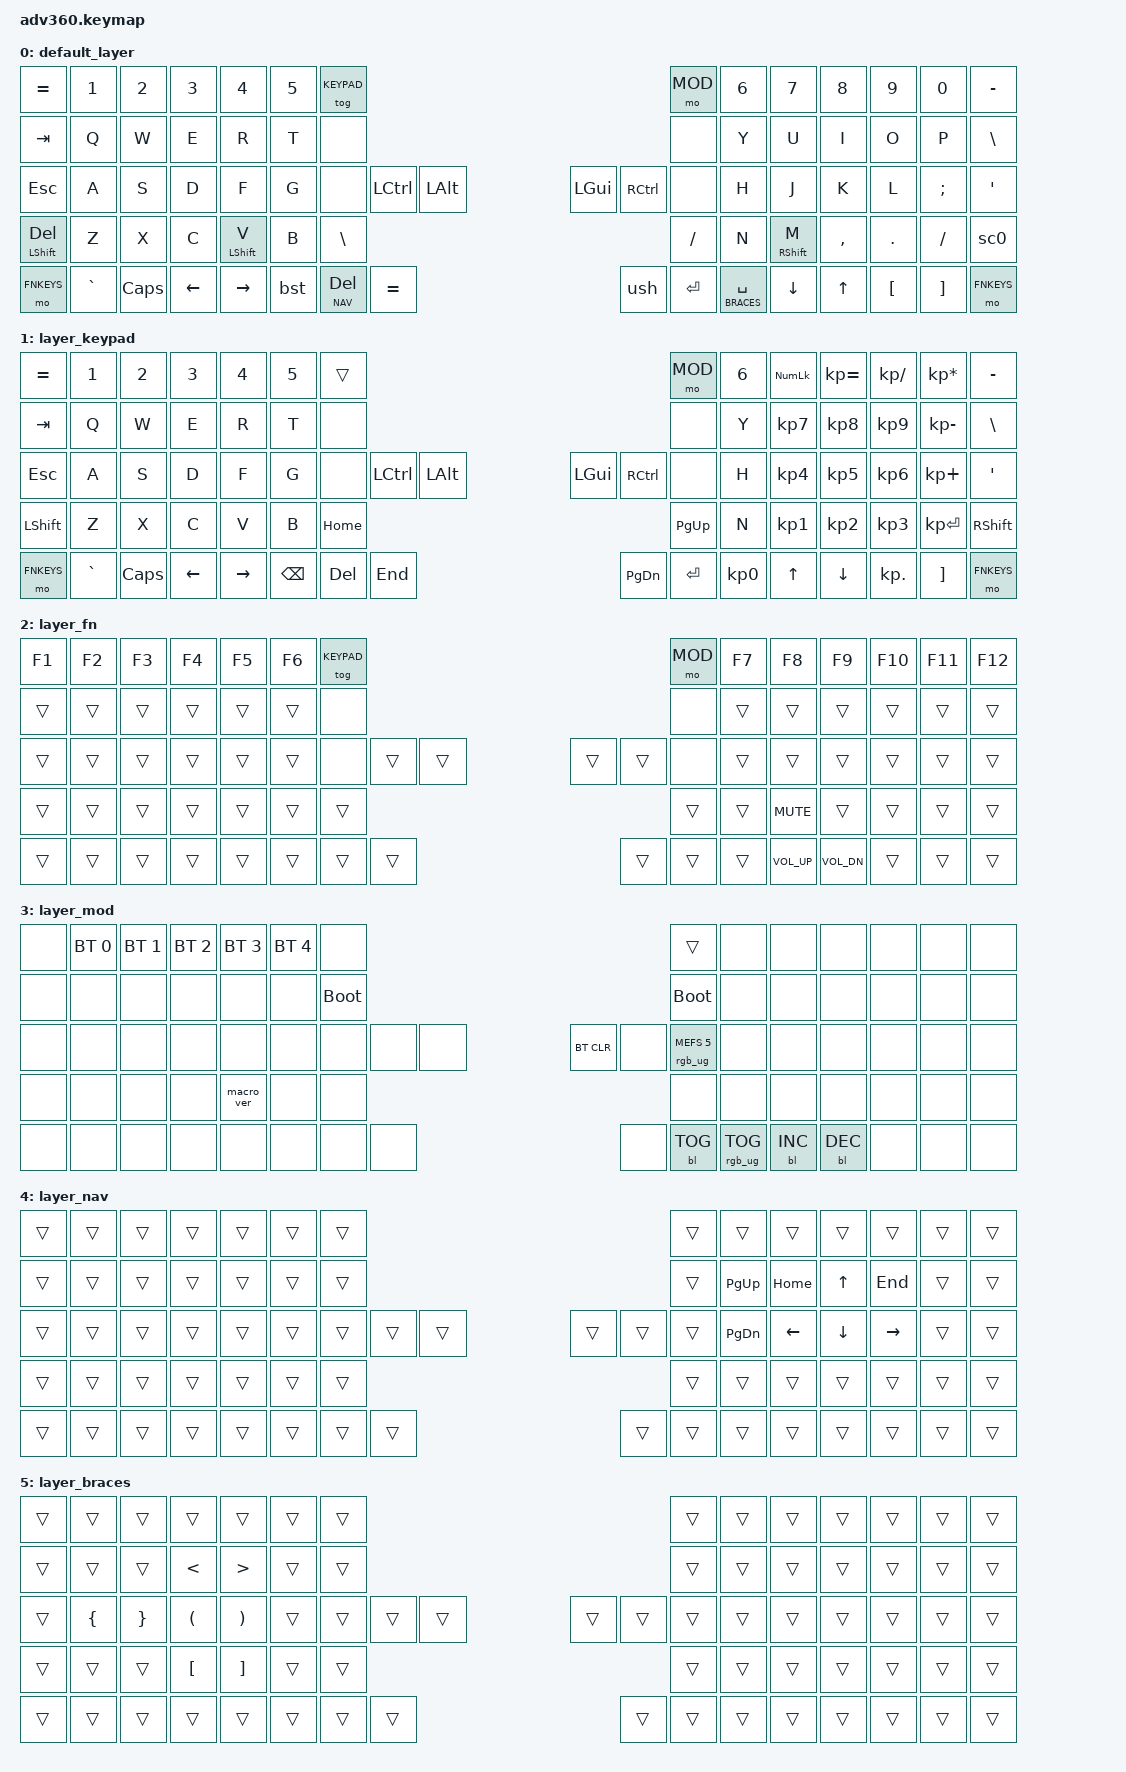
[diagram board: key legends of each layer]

/*
 * Copyright (c) 2020 The ZMK Contributors
 *
 * SPDX-License-Identifier: MIT
 */


/* THIS FILE WAS GENERATED!
 *
 * This file was generated automatically. You may or may not want to
 * edit it directly.
 */

#include <behaviors.dtsi>
#include <dt-bindings/zmk/keys.h>
#include <dt-bindings/zmk/bt.h>
#include <dt-bindings/zmk/rgb.h>
#include <dt-bindings/zmk/backlight.h>

#define BASE		0
#define KEYPAD		1
#define FNKEYS		2
#define MOD		3
#define NAV		4
#define BRACES		5

/ {
  behaviors {
    #include "macros.dtsi"
    #include "version.dtsi"

    hm: homerow_mods {
        compatible = "zmk,behavior-hold-tap";
        label = "HOMEROW_MODS";
        #binding-cells = <2>;
        tapping-term-ms = <200>;
        quick_tap_ms = <175>;
        flavor = "tap-preferred";
        bindings = <&kp>, <&kp>;
    };
    rpi: require_prior_idle {
        compatible = "zmk,behavior-hold-tap";
        label = "rpi";
        #binding-cells = <2>;
        flavor = "tap-preferred";
        tapping-term-ms = <200>;
        quick_tap_ms = <200>;
        require-prior-idle-ms = <125>;
        bindings = <&kp>, <&kp>;
    };
    uplb: up_left_brace {
        compatible = "zmk,behavior-mod-morph";
        label = "up_left_brace";
        #binding-cells = <0>;
        bindings = <&kp LEFT_BRACE>, <&kp UP>;
        mods = <(MOD_LSFT|MOD_RSFT)>;
     };
    dnlb: down_right_brace {
        compatible = "zmk,behavior-mod-morph";
        label = "down_right_brace";
        #binding-cells = <0>;
        bindings = <&kp RIGHT_BRACE>, <&kp DOWN>;
        mods = <(MOD_LSFT|MOD_RSFT)>;
    };
    llp: left_left_parens {
        compatible = "zmk,behavior-mod-morph";
        label = "left_left_parens";
        #binding-cells = <0>;
        bindings = <&kp LEFT_PARENTHESIS>, <&kp LEFT>;
        mods = <(MOD_LSFT|MOD_RSFT)>;
    };
    rrp: right_right_parens {
        compatible = "zmk,behavior-mod-morph";
        label = "right_right_parens";
        #binding-cells = <0>;
        bindings = <&kp RIGHT_PARENTHESIS>, <&kp RIGHT>;
        mods = <(MOD_LSFT|MOD_RSFT)>;
    };
    ush: underscore_hyphen {
        compatible = "zmk,behavior-mod-morph";
        label = "underscore_hyphen";
        #binding-cells = <0>;
        bindings = <&kp UNDERSCORE>, <&kp MINUS>;
        mods = <(MOD_LCTL|MOD_LSFT|MOD_RCTL|MOD_RSFT)>;
    };
    bst: backspace_tab {
        compatible = "zmk,behavior-mod-morph";
        label = "backspace_tab";
        #binding-cells = <0>;
        bindings = <&kp BSPC>, <&kp TAB>;
        mods = <(MOD_LCTL|MOD_LSFT|MOD_RCTL|MOD_RSFT)>;
    };
    sc0: shift_caps_0 {
        compatible = "zmk,behavior-tap-dance";
        label = "shift_caps_0";
        #binding-cells = <0>;
        tapping-term-ms = <200>;
        bindings = <&kp RSHIFT>, <&kp CAPS>;
    };
  };

    keymap {
        compatible = "zmk,keymap";


        default_layer {
            bindings = <
      &kp EQUAL     &kp N1    &kp N2    &kp N3         &kp N4  &kp N5  &tog KEYPAD                                                                         &mo MOD    &kp N6         &kp N7     &kp N8    &kp N9    &kp N0   &kp MINUS
        &kp TAB      &kp Q     &kp W     &kp E          &kp R   &kp T        &none                                                                           &none     &kp Y          &kp U      &kp I     &kp O     &kp P    &kp BSLH
        &kp ESC      &kp A     &kp S     &kp D          &kp F   &kp G        &none    &kp LCTRL   &kp LALT                   &kp LGUI  &kp RCTRL             &none     &kp H          &kp J      &kp K     &kp L  &kp SEMI     &kp SQT
 &mt LSHIFT DEL      &kp Z     &kp X     &kp C  &rpi LSHIFT V   &kp B                             &kp BSLH                   &kp FSLH                                  &kp N  &rpi RSHIFT M  &kp COMMA   &kp DOT  &kp FSLH        &sc0
     &mo FNKEYS  &kp GRAVE  &kp CAPS  &kp LEFT      &kp RIGHT                 &bst  &lt NAV DEL  &kp EQUAL                       &ush  &kp ENTER  &lt BRACES SPACE                 &kp DOWN     &kp UP  &kp LBKT  &kp RBKT  &mo FNKEYS
            >;
        };

        layer_keypad {
            bindings = <
  &kp EQUAL     &kp N1    &kp N2    &kp N3     &kp N4  &kp N5              &trans                                                                 &mo MOD  &kp N6  &kp KP_NUM  &kp KP_EQUAL  &kp KP_DIVIDE  &kp KP_MULTIPLY   &kp MINUS
    &kp TAB      &kp Q     &kp W     &kp E      &kp R   &kp T               &none                                                                   &none   &kp Y   &kp KP_N7     &kp KP_N8      &kp KP_N9     &kp KP_MINUS    &kp BSLH
    &kp ESC      &kp A     &kp S     &kp D      &kp F   &kp G               &none  &kp LCTRL  &kp LALT                   &kp LGUI  &kp RCTRL        &none   &kp H   &kp KP_N4     &kp KP_N5      &kp KP_N6      &kp KP_PLUS     &kp SQT
  &kp LSHFT      &kp Z     &kp X     &kp C      &kp V   &kp B                                 &kp HOME                  &kp PG_UP                           &kp N   &kp KP_N1     &kp KP_N2      &kp KP_N3     &kp KP_ENTER   &kp RSHFT
 &mo FNKEYS  &kp GRAVE  &kp CAPS  &kp LEFT  &kp RIGHT                    &kp BSPC    &kp DEL   &kp END                  &kp PG_DN  &kp ENTER  &kp   KP_N0              &kp UP      &kp DOWN     &kp KP_DOT         &kp RBKT  &mo FNKEYS
            >;
        };

        layer_fn {
            bindings = <
 &kp F1  &kp F2  &kp F3  &kp F4  &kp F5  &kp F6  &tog KEYPAD                                                   &mo MOD  &kp F7        &kp F8        &kp F9  &kp F10  &kp F11  &kp F12
 &trans  &trans  &trans  &trans  &trans  &trans        &none                                                     &none  &trans        &trans        &trans   &trans   &trans   &trans
 &trans  &trans  &trans  &trans  &trans  &trans        &none  &trans  &trans                  &trans  &trans     &none  &trans        &trans        &trans   &trans   &trans   &trans
 &trans  &trans  &trans  &trans  &trans  &trans                       &trans                  &trans                    &trans    &kp C_MUTE        &trans   &trans   &trans   &trans
 &trans  &trans  &trans  &trans  &trans               &trans  &trans  &trans                  &trans  &trans    &trans          &kp C_VOL_UP  &kp C_VOL_DN   &trans   &trans   &trans
            >;
        };

        layer_mod {
            bindings = <
  &none  &bt BT_SEL 0  &bt BT_SEL 1  &bt BT_SEL 2  &bt BT_SEL 3  &bt BT_SEL 4                  &none                                                                          &trans   &none       &none       &none   &none   &none   &none
  &none         &none         &none         &none         &none         &none            &bootloader                                                                     &bootloader   &none       &none       &none   &none   &none   &none
  &none         &none         &none         &none         &none         &none                  &none   &none   &none                  &bt BT_CLR       &none  &rgb_ug RGB_MEFS_CMD 5   &none       &none       &none   &none   &none   &none
  &none         &none         &none         &none    &macro_ver         &none                                  &none                       &none                                       &none       &none       &none   &none   &none   &none
  &none         &none         &none         &none         &none                                &none   &none   &none                       &none  &bl BL_TOG         &rgb_ug RGB_TOG          &bl BL_INC  &bl BL_DEC   &none   &none   &none
            >;
        };

        layer_nav {
            bindings = <
 &trans  &trans  &trans  &trans  &trans  &trans            &trans                                                  &trans     &trans          &trans          &trans           &trans  &trans  &trans
 &trans  &trans  &trans  &trans  &trans  &trans            &trans                                                  &trans  &kp PG_UP        &kp HOME    &kp UP_ARROW          &kp END  &trans  &trans
 &trans  &trans  &trans  &trans  &trans  &trans            &trans  &trans  &trans                  &trans  &trans  &trans  &kp PG_DN  &kp LEFT_ARROW  &kp DOWN_ARROW  &kp RIGHT_ARROW  &trans  &trans
 &trans  &trans  &trans  &trans  &trans  &trans                            &trans                  &trans                     &trans          &trans          &trans           &trans  &trans  &trans
 &trans  &trans  &trans  &trans  &trans                    &trans  &trans  &trans                  &trans  &trans  &trans                     &trans          &trans           &trans  &trans  &trans
            >;
        };

        layer_braces {
            bindings = <
 &trans    &trans    &trans    &trans    &trans  &trans  &trans                                                  &trans  &trans  &trans  &trans  &trans  &trans  &trans
 &trans    &trans    &trans    &kp LT    &kp GT  &trans  &trans                                                  &trans  &trans  &trans  &trans  &trans  &trans  &trans
 &trans  &kp LBRC  &kp RBRC  &kp LPAR  &kp RPAR  &trans  &trans  &trans  &trans                  &trans  &trans  &trans  &trans  &trans  &trans  &trans  &trans  &trans
 &trans    &trans    &trans  &kp LBKT  &kp RBKT  &trans                  &trans                  &trans                  &trans  &trans  &trans  &trans  &trans  &trans
 &trans    &trans    &trans    &trans    &trans          &trans  &trans  &trans                  &trans  &trans  &trans          &trans  &trans  &trans  &trans  &trans
            >;
        };

    };
};
